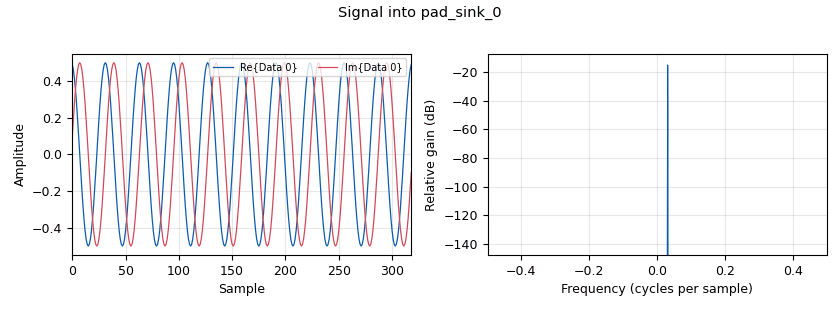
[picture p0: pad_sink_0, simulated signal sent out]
<?xml version='1.0' encoding='utf-8'?>
<?grc format='1' created='3.7.9'?>
<flow_graph>
<block>
<key>options</key>
<param><key>id</key><value>tx_blk</value></param>
<param><key>category</key><value>Custom</value></param>
<param><key>generate_options</key><value>hb</value></param>
</block>
<block>
<key>analog_sig_source_x</key>
<param><key>id</key><value>analog_sig_source_x_0</value></param>
<param><key>amp</key><value>0.5</value></param>
<param><key>freq</key><value>freq_tone</value></param>
<param><key>offset</key><value>0</value></param>
<param><key>type</key><value>complex</value></param>
<param><key>samp_rate</key><value>samp_rate</value></param>
<param><key>waveform</key><value>analog.GR_SIN_WAVE</value></param>
</block>
<block>
<key>parameter</key>
<param><key>id</key><value>freq_if</value></param>
<param><key>type</key><value>intx</value></param>
<param><key>value</key><value>64000</value></param>
</block>
<block>
<key>parameter</key>
<param><key>id</key><value>freq_tone</value></param>
<param><key>type</key><value>intx</value></param>
<param><key>value</key><value>1000</value></param>
</block>
<block>
<key>pad_sink</key>
<param><key>id</key><value>pad_sink_0</value></param>
<param><key>type</key><value>complex</value></param>
<param><key>label</key><value>out</value></param>
</block>
<block>
<key>parameter</key>
<param><key>id</key><value>samp_rate</value></param>
<param><key>type</key><value>intx</value></param>
<param><key>value</key><value>32000</value></param>
</block>
<connection><source_block_id>analog_sig_source_x_0</source_block_id><sink_block_id>pad_sink_0</sink_block_id><source_key>0</source_key><sink_key>0</sink_key></connection>
</flow_graph>
